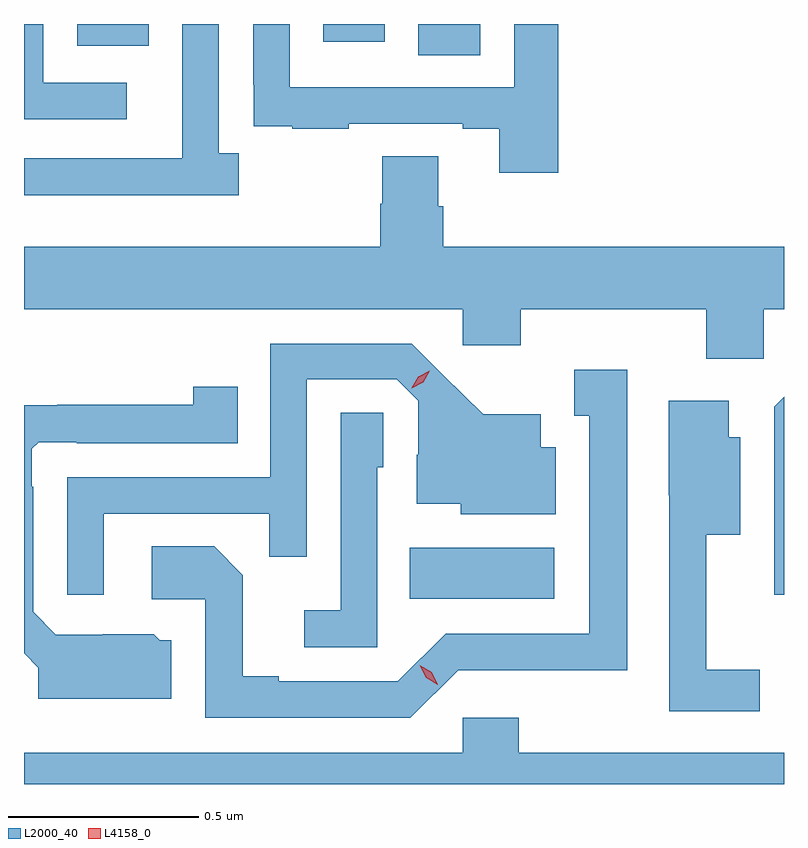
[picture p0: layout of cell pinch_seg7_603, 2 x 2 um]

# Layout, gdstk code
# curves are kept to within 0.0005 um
import gdstk
lib = gdstk.Library(unit=1e-6, precision=1e-09)
def R(c, l, rs):  # rectangles x0, y0, x1, y1
    for r in rs: c.add(gdstk.rectangle(r[:2], r[2:], *l))
def P(c, l, *ps):  # polygons
    for p in ps: c.add(gdstk.Polygon(p, *l))
L2000_40 = (2000, 40)
L4158_0 = (4158, 0)

pinch_seg7_603 = lib.new_cell('pinch_seg7_603')
R(pinch_seg7_603, L2000_40, [(114.724,1054.466,115.105,1054.6), (114.746,1055.896,114.91,1055.978), (113.849,1055.921,114.037,1055.978), (114.497,1055.931,114.658,1055.978)])
P(pinch_seg7_603, L2000_40, [(115.115,1055.978),(114.999,1055.978),(114.999,1055.811),(114.408,1055.811),(114.408,1055.978),(114.312,1055.978),(114.312,1055.818),(114.313,1055.818),(114.313,1055.709),(114.415,1055.709),(114.415,1055.703),(114.563,1055.703),(114.563,1055.715),(114.863,1055.715),(114.863,1055.703),(114.959,1055.703),(114.959,1055.586),(115.115,1055.586)],
  [(114.274,1055.638),(114.222,1055.638),(114.222,1055.978),(114.126,1055.978),(114.126,1055.825),(114.125,1055.825),(114.125,1055.625),(113.709,1055.625),(113.709,1055.528),(114.274,1055.528)],
  [(113.98,1055.823),(113.76,1055.823),(113.76,1055.978),(113.709,1055.978),(113.709,1055.727),(113.98,1055.727)],
  [(115.656,1055.228),(115.709,1055.228),(115.709,1055.392),(114.812,1055.392),(114.812,1055.498),(114.799,1055.498),(114.799,1055.63),(114.652,1055.63),(114.652,1055.505),(114.647,1055.505),(114.647,1055.392),(113.709,1055.392),(113.709,1055.228),(114.864,1055.228),(114.864,1055.133),(115.016,1055.133),(115.016,1055.228),(115.505,1055.228),(115.505,1055.097),(115.656,1055.097)],
  [(113.919,1054.689),(114.355,1054.689),(114.355,1054.576),(114.453,1054.576),(114.453,1055.043),(114.69,1055.043),(114.747,1054.986),(114.747,1054.844),(114.743,1054.844),(114.743,1054.715),(114.858,1054.715),(114.858,1054.688),(115.108,1054.688),(115.108,1054.864),(115.069,1054.864),(115.069,1054.951),(114.917,1054.951),(114.73,1055.136),(114.357,1055.136),(114.357,1054.785),(113.823,1054.785),(113.823,1054.476),(113.919,1054.476)],
  [(114.852,1054.278),(115.074,1054.278),(115.074,1054.277),(115.297,1054.277),(115.297,1055.068),(115.157,1055.068),(115.157,1054.947),(115.196,1054.947),(115.196,1054.374),(114.819,1054.374),(114.693,1054.248),(114.379,1054.248),(114.379,1054.261),(114.285,1054.261),(114.285,1054.528),(114.209,1054.604),(114.045,1054.604),(114.045,1054.464),(114.186,1054.464),(114.186,1054.152),(114.726,1054.152)],
  [(114.097,1054.356),(114.066,1054.356),(114.05,1054.372),(113.916,1054.372),(113.916,1054.371),(113.793,1054.371),(113.733,1054.431),(113.733,1054.76),(113.73,1054.76),(113.73,1054.86),(113.748,1054.878),(113.848,1054.878),(113.848,1054.875),(114.272,1054.875),(114.272,1055.023),(114.154,1055.023),(114.154,1054.976),(113.797,1054.976),(113.797,1054.975),(113.709,1054.975),(113.709,1054.322),(113.747,1054.284),(113.747,1054.202),(114.097,1054.202)],
  [(115.709,1054.997),(115.683,1054.971),(115.683,1054.476),(115.709,1054.476)],
  [(115.645,1054.279),(115.505,1054.279),(115.505,1054.634),(115.594,1054.634),(115.594,1054.891),(115.564,1054.891),(115.564,1054.987),(115.406,1054.987),(115.406,1054.738),(115.407,1054.738),(115.407,1054.17),(115.645,1054.17)],
  [(114.639,1054.812),(114.654,1054.812),(114.654,1054.955),(114.543,1054.955),(114.543,1054.435),(114.447,1054.435),(114.447,1054.338),(114.639,1054.338)],
  [(115.709,1054.06),(115.011,1054.06),(115.011,1054.153),(114.864,1054.153),(114.864,1054.06),(113.709,1054.06),(113.709,1053.978),(115.709,1053.978)])
P(pinch_seg7_603, L4158_0, [(114.798,1054.239),(114.767,1054.258),(114.75,1054.291),(114.75,1054.291),(114.75,1054.291),(114.782,1054.272),(114.798,1054.239),(114.798,1054.239)],
  [(114.729,1055.02),(114.729,1055.021),(114.746,1055.05),(114.777,1055.065),(114.777,1055.065),(114.777,1055.065),(114.76,1055.035),(114.729,1055.02)])

lib.write_gds('pinch_seg7_603.gds')
